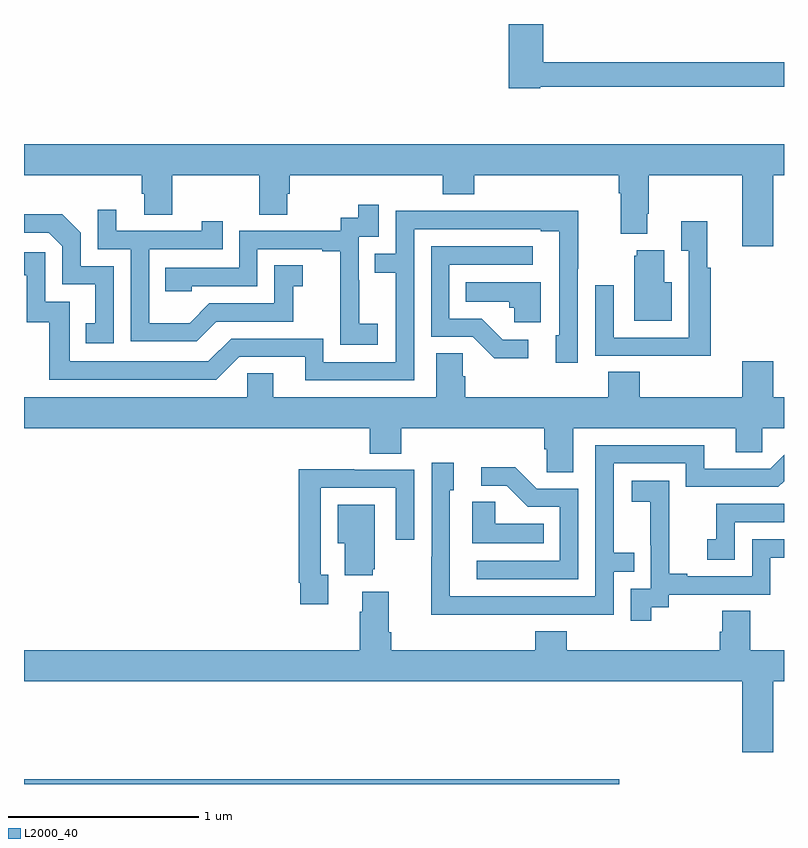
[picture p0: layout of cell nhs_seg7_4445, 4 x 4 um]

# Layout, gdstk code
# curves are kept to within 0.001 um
import gdstk
lib = gdstk.Library(unit=1e-6, precision=1e-09)
def R(c, l, rs):  # rectangles x0, y0, x1, y1
    for r in rs: c.add(gdstk.rectangle(r[:2], r[2:], *l))
def P(c, l, *ps):  # polygons
    for p in ps: c.add(gdstk.Polygon(p, *l))
L2000_40 = (2000, 40)

nhs_seg7_4445 = lib.new_cell('nhs_seg7_4445')
R(nhs_seg7_4445, L2000_40, [(389,1076,392.134,1076.024)])
P(nhs_seg7_4445, L2000_40, [(391.716,1079.67),(393,1079.67),(393,1079.798),(391.733,1079.798),(391.733,1080),(391.55,1080),(391.55,1079.662),(391.716,1079.662)],
  [(389,1079.204),(389.621,1079.204),(389.621,1079.106),(389.633,1079.106),(389.633,1078.996),(389.781,1078.996),(389.781,1079.204),(390.238,1079.204),(390.238,1078.996),(390.385,1078.996),(390.385,1079.106),(390.398,1079.106),(390.398,1079.204),(391.205,1079.204),(391.205,1079.105),(391.37,1079.105),(391.37,1079.204),(392.129,1079.204),(392.129,1079.108),(392.141,1079.108),(392.141,1078.895),(392.281,1078.895),(392.281,1079.002),(392.289,1079.002),(392.289,1079.204),(392.78,1079.204),(392.78,1078.83),(392.944,1078.83),(392.944,1079.204),(393,1079.204),(393,1079.368),(389,1079.368)],
  [(390.862,1078.423),(390.764,1078.423),(390.764,1078.652),(390.762,1078.652),(390.762,1078.881),(390.867,1078.881),(390.867,1079.05),(390.759,1079.05),(390.759,1078.98),(390.666,1078.98),(390.666,1078.911),(390.132,1078.911),(390.132,1078.716),(389.743,1078.716),(389.743,1078.593),(389.883,1078.593),(389.883,1078.62),(390.228,1078.62),(390.228,1078.815),(390.569,1078.815),(390.569,1078.803),(390.665,1078.803),(390.665,1078.519),(390.664,1078.519),(390.664,1078.313),(390.862,1078.313)],
  [(390.013,1078.434),(390.417,1078.434),(390.417,1078.619),(390.466,1078.619),(390.466,1078.729),(390.318,1078.729),(390.318,1078.53),(389.976,1078.53),(389.872,1078.426),(389.658,1078.426),(389.658,1078.815),(390.047,1078.815),(390.047,1078.963),(389.936,1078.963),(389.936,1078.911),(389.485,1078.911),(389.485,1079.023),(389.388,1079.023),(389.388,1078.815),(389.562,1078.815),(389.562,1078.329),(389.908,1078.329)],
  [(391.053,1078.92),(391.721,1078.92),(391.721,1078.908),(391.818,1078.908),(391.818,1078.362),(391.799,1078.362),(391.799,1078.218),(391.914,1078.218),(391.914,1078.711),(391.917,1078.711),(391.917,1079.018),(391.453,1079.018),(391.453,1079.016),(390.957,1079.016),(390.957,1078.791),(390.847,1078.791),(390.847,1078.69),(390.957,1078.69),(390.957,1078.221),(390.576,1078.221),(390.576,1078.344),(390.09,1078.344),(389.97,1078.224),(389.241,1078.224),(389.241,1078.539),(389.112,1078.539),(389.112,1078.798),(389,1078.798),(389,1078.677),(389.015,1078.677),(389.015,1078.431),(389.133,1078.431),(389.133,1078.128),(390.012,1078.128),(390.132,1078.248),(390.479,1078.248),(390.479,1078.125),(391.053,1078.125)],
  [(389.472,1078.725),(389.298,1078.725),(389.298,1078.902),(389.2,1079),(389,1079),(389,1078.902),(389.13,1078.902),(389.202,1078.83),(389.202,1078.629),(389.375,1078.629),(389.375,1078.425),(389.326,1078.425),(389.326,1078.32),(389.472,1078.32)],
  [(392.615,1078.718),(392.597,1078.718),(392.597,1078.963),(392.459,1078.963),(392.459,1078.807),(392.499,1078.807),(392.499,1078.35),(392.103,1078.35),(392.103,1078.624),(392.007,1078.624),(392.007,1078.254),(392.323,1078.254),(392.323,1078.253),(392.615,1078.253)],
  [(391.654,1078.338),(391.519,1078.338),(391.408,1078.449),(391.239,1078.449),(391.239,1078.734),(391.678,1078.734),(391.678,1078.83),(391.143,1078.83),(391.143,1078.353),(391.362,1078.353),(391.475,1078.241),(391.654,1078.241)],
  [(392.41,1078.642),(392.371,1078.642),(392.371,1078.81),(392.225,1078.81),(392.225,1078.779),(392.213,1078.779),(392.213,1078.439),(392.41,1078.439)],
  [(391.72,1078.642),(391.324,1078.642),(391.324,1078.538),(391.555,1078.538),(391.555,1078.506),(391.581,1078.506),(391.581,1078.43),(391.72,1078.43)],
  [(391.891,1077.872),(392.747,1077.872),(392.747,1077.745),(392.886,1077.745),(392.886,1077.872),(393,1077.872),(393,1078.036),(392.944,1078.036),(392.944,1078.225),(392.78,1078.225),(392.78,1078.036),(392.24,1078.036),(392.24,1078.169),(392.075,1078.169),(392.075,1078.036),(391.322,1078.036),(391.322,1078.145),(391.308,1078.145),(391.308,1078.268),(391.169,1078.268),(391.169,1078.036),(390.313,1078.036),(390.313,1078.163),(390.174,1078.163),(390.174,1078.036),(389,1078.036),(389,1077.872),(390.821,1077.872),(390.821,1077.739),(390.986,1077.739),(390.986,1077.872),(391.739,1077.872),(391.739,1077.763),(391.752,1077.763),(391.752,1077.64),(391.891,1077.64)],
  [(391.607,1076.892),(392.103,1076.892),(392.103,1077.117),(392.213,1077.117),(392.213,1077.218),(392.103,1077.218),(392.103,1077.687),(392.484,1077.687),(392.484,1077.564),(392.97,1077.564),(393,1077.594),(393,1077.732),(392.928,1077.66),(392.581,1077.66),(392.581,1077.783),(392.007,1077.783),(392.007,1076.988),(391.242,1076.988),(391.242,1077.546),(391.261,1077.546),(391.261,1077.691),(391.146,1077.691),(391.146,1077.197),(391.144,1077.197),(391.144,1076.891)],
  [(391.917,1077.555),(391.698,1077.555),(391.585,1077.668),(391.407,1077.668),(391.407,1077.57),(391.541,1077.57),(391.652,1077.459),(391.821,1077.459),(391.821,1077.174),(391.383,1077.174),(391.383,1077.078),(391.917,1077.078)],
  [(390.601,1077.102),(390.561,1077.102),(390.561,1077.558),(390.957,1077.558),(390.957,1077.285),(391.053,1077.285),(391.053,1077.654),(390.737,1077.654),(390.737,1077.656),(390.445,1077.656),(390.445,1077.058),(390.453,1077.058),(390.453,1076.946),(390.601,1076.946)],
  [(392.302,1076.929),(392.394,1076.929),(392.394,1076.997),(392.928,1076.997),(392.928,1077.192),(393,1077.192),(393,1077.288),(392.832,1077.288),(392.832,1077.093),(392.491,1077.093),(392.491,1077.106),(392.396,1077.106),(392.396,1077.389),(392.397,1077.389),(392.397,1077.595),(392.199,1077.595),(392.199,1077.485),(392.297,1077.485),(392.297,1077.257),(392.298,1077.257),(392.298,1077.027),(392.193,1077.027),(392.193,1076.859),(392.302,1076.859)],
  [(391.736,1077.37),(391.479,1077.37),(391.479,1077.485),(391.358,1077.485),(391.358,1077.266),(391.736,1077.266)],
  [(392.742,1077.378),(393,1077.378),(393,1077.474),(392.644,1077.474),(392.644,1077.289),(392.595,1077.289),(392.595,1077.18),(392.742,1077.18)],
  [(390.836,1077.129),(390.847,1077.129),(390.847,1077.469),(390.65,1077.469),(390.65,1077.266),(390.689,1077.266),(390.689,1077.098),(390.836,1077.098)],
  [(392.944,1076.54),(393,1076.54),(393,1076.704),(392.823,1076.704),(392.823,1076.912),(392.675,1076.912),(392.675,1076.802),(392.663,1076.802),(392.663,1076.704),(391.856,1076.704),(391.856,1076.803),(391.691,1076.803),(391.691,1076.704),(390.932,1076.704),(390.932,1076.8),(390.919,1076.8),(390.919,1077.013),(390.779,1077.013),(390.779,1076.906),(390.767,1076.906),(390.767,1076.704),(389,1076.704),(389,1076.54),(392.78,1076.54),(392.78,1076.166),(392.944,1076.166)])

lib.write_gds('nhs_seg7_4445.gds')
